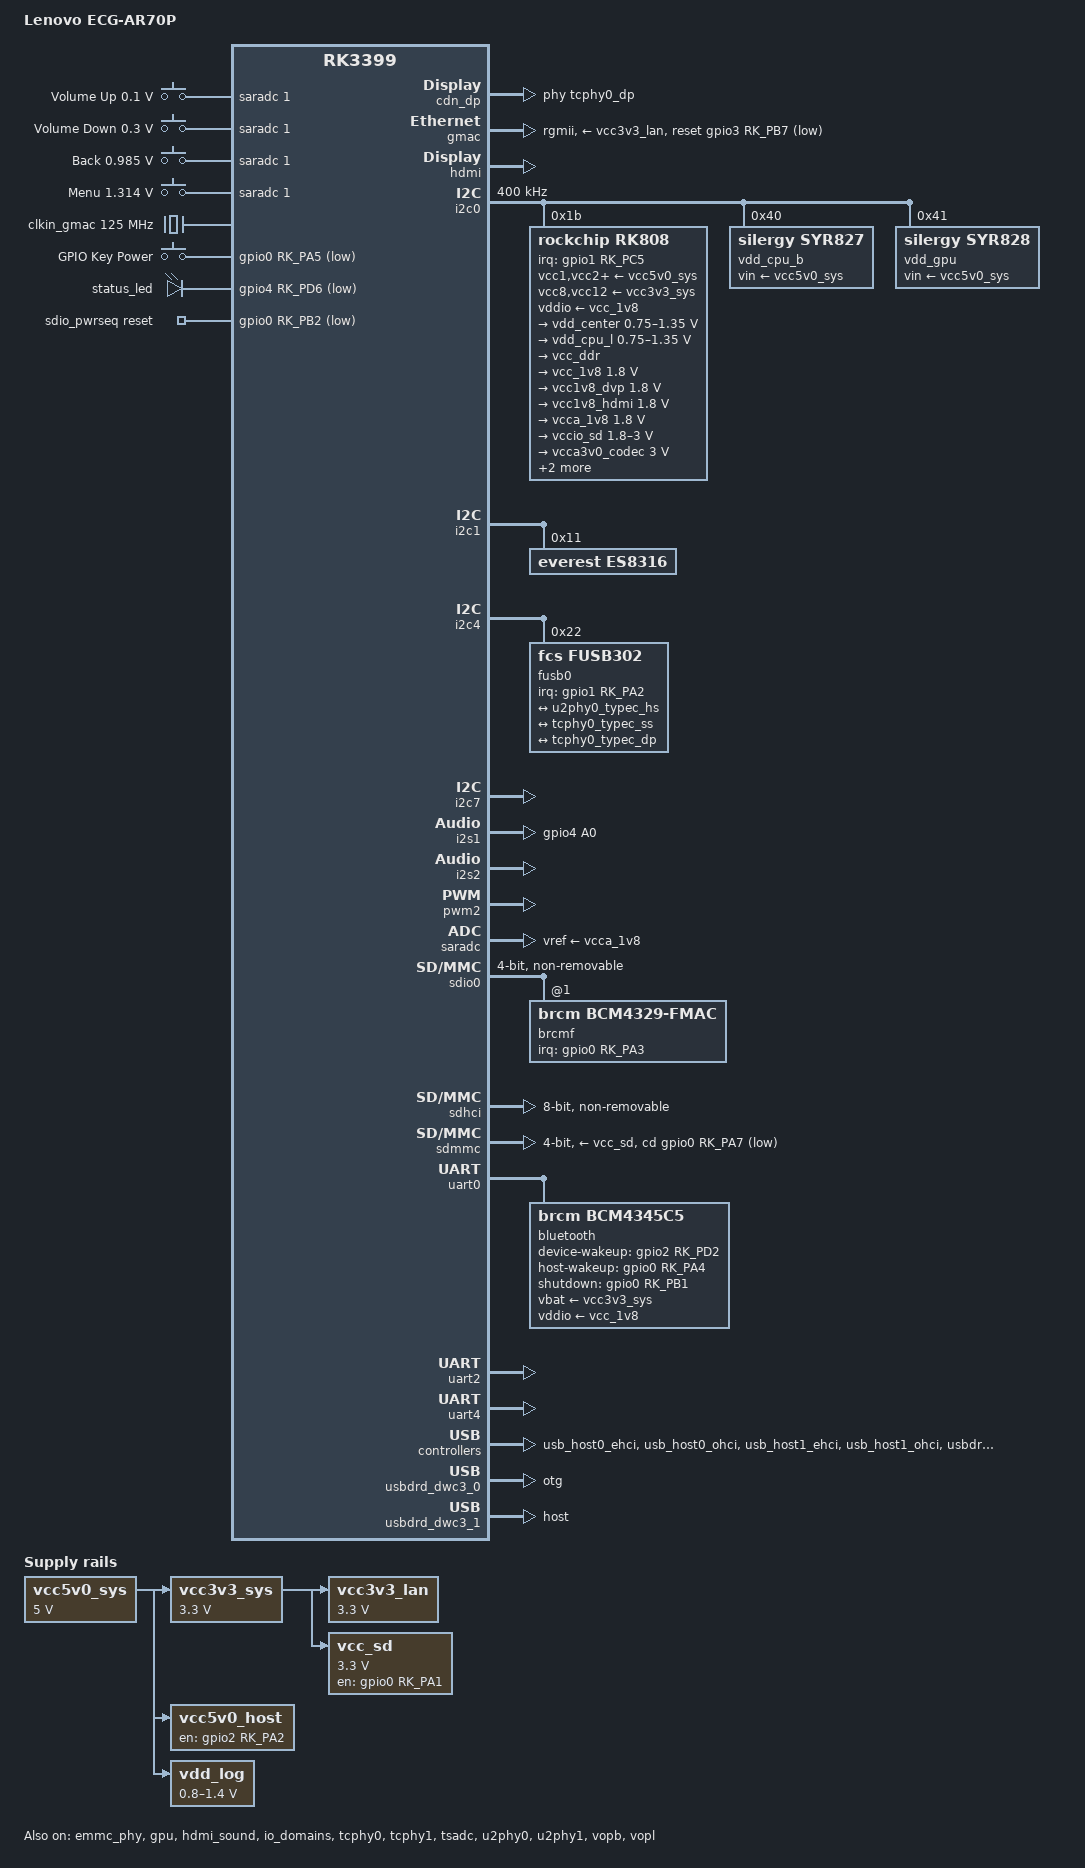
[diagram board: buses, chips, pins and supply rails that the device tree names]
// SPDX-License-Identifier: (GPL-2.0+ OR MIT)
/*
 * Device Tree for Lenovo ECG-AR70P (RK3399)
 */

/dts-v1/;
#include <dt-bindings/input/linux-event-codes.h>
#include <dt-bindings/interrupt-controller/irq.h>
#include <dt-bindings/pwm/pwm.h>
#include <dt-bindings/usb/pd.h>
#include "rk3399.dtsi"

/ {
	model = "Lenovo ECG-AR70P";
	compatible = "lenovo,ecg-ar70p", "rockchip,rk3399";

	aliases {
		ethernet0 = &gmac;
		mmc0 = &sdio0;
		mmc1 = &sdmmc;
		mmc2 = &sdhci;
	};

	chosen {
		stdout-path = "serial2:1500000n8";
	};

	adc-keys {
		compatible = "adc-keys";
		io-channels = <&saradc 1>;
		io-channel-names = "buttons";
		keyup-threshold-microvolt = <1800000>;
		poll-interval = <100>;

		button-up {
			label = "Volume Up";
			linux,code = <KEY_VOLUMEUP>;
			press-threshold-microvolt = <100000>;
		};

		button-down {
			label = "Volume Down";
			linux,code = <KEY_VOLUMEDOWN>;
			press-threshold-microvolt = <300000>;
		};

		button-back {
			label = "Back";
			linux,code = <KEY_BACK>;
			press-threshold-microvolt = <985000>;
		};

		button-menu {
			label = "Menu";
			linux,code = <KEY_MENU>;
			press-threshold-microvolt = <1314000>;
		};
	};

	clkin_gmac: external-gmac-clock {
		compatible = "fixed-clock";
		clock-frequency = <125000000>;
		clock-output-names = "clkin_gmac";
		#clock-cells = <0>;
	};

	es8316-sound {
		compatible = "simple-audio-card";
		simple-audio-card,name = "rockchip,es8316-codec";
		simple-audio-card,format = "i2s";
		simple-audio-card,mclk-fs = <256>;
		simple-audio-card,widgets =
			"Microphone", "Mic Jack",
			"Headphone", "Headphones";
		simple-audio-card,routing =
			"MIC1", "Mic Jack",
			"Headphones", "HPOL",
			"Headphones", "HPOR";

		simple-audio-card,cpu {
			sound-dai = <&i2s1>;
		};

		simple-audio-card,codec {
			sound-dai = <&es8316>;
		};
	};

	gpio-keys {
		compatible = "gpio-keys";
		autorepeat;
		pinctrl-names = "default";
		pinctrl-0 = <&pwr_key>;

		button-power {
			debounce-interval = <100>;
			gpios = <&gpio0 RK_PA5 GPIO_ACTIVE_LOW>;
			label = "GPIO Key Power";
			linux,code = <KEY_POWER>;
			wakeup-source;
		};
	};

	gpio-leds {
		compatible = "gpio-leds";
		pinctrl-names = "default";
		pinctrl-0 = <&status_led_pin>;

		led-status {
			gpios = <&gpio4 RK_PD6 GPIO_ACTIVE_LOW>;
			label = "status_led";
			linux,default-trigger = "heartbeat";
		};
	};

	sdio_pwrseq: sdio-pwrseq {
		compatible = "mmc-pwrseq-simple";
		clocks = <&rk808 1>;
		clock-names = "ext_clock";
		pinctrl-names = "default";
		pinctrl-0 = <&wifi_enable_h>;
		reset-gpios = <&gpio0 RK_PB2 GPIO_ACTIVE_LOW>;
	};

	typec_extcon_bridge: typec-extcon {
		compatible = "linux,typec-extcon-bridge";
		usb-role-switch;
		orientation-switch;
		mode-switch;
		svid = /bits/ 16 <0xff01>;
	};

	vcc3v3_lan: regulator-vcc3v3-lan {
		compatible = "regulator-fixed";
		regulator-name = "vcc3v3_lan";
		regulator-always-on;
		regulator-boot-on;
		regulator-min-microvolt = <3300000>;
		regulator-max-microvolt = <3300000>;
		vin-supply = <&vcc3v3_sys>;
	};

	vcc3v3_sys: regulator-vcc3v3-sys {
		compatible = "regulator-fixed";
		regulator-name = "vcc3v3_sys";
		regulator-always-on;
		regulator-boot-on;
		regulator-min-microvolt = <3300000>;
		regulator-max-microvolt = <3300000>;
		vin-supply = <&vcc5v0_sys>;
	};

	vcc5v0_host: regulator-vcc5v0-host {
		compatible = "regulator-fixed";
		enable-active-high;
		gpio = <&gpio2 RK_PA2 GPIO_ACTIVE_HIGH>;
		pinctrl-names = "default";
		pinctrl-0 = <&vcc5v0_host_en>;
		regulator-name = "vcc5v0_host";
		regulator-always-on;
		regulator-boot-on;
		vin-supply = <&vcc5v0_sys>;
	};

	vcc5v0_sys: regulator-vcc5v0-sys {
		compatible = "regulator-fixed";
		regulator-name = "vcc5v0_sys";
		regulator-always-on;
		regulator-boot-on;
		regulator-min-microvolt = <5000000>;
		regulator-max-microvolt = <5000000>;
	};

	vcc_sd: regulator-vcc-sd {
		compatible = "regulator-fixed";
		enable-active-high;
		gpio = <&gpio0 RK_PA1 GPIO_ACTIVE_HIGH>;
		pinctrl-names = "default";
		pinctrl-0 = <&vcc_sd_h>;
		regulator-name = "vcc_sd";
		regulator-min-microvolt = <3300000>;
		regulator-max-microvolt = <3300000>;
		vin-supply = <&vcc3v3_sys>;
	};

	vdd_log: regulator-vdd-log {
		compatible = "pwm-regulator";
		pwms = <&pwm2 0 25000 1>;
		pwm-supply = <&vcc5v0_sys>;
		regulator-name = "vdd_log";
		regulator-always-on;
		regulator-boot-on;
		regulator-min-microvolt = <800000>;
		regulator-max-microvolt = <1400000>;
	};
};

&cdn_dp {
	status = "okay";
	extcon = <&typec_extcon_bridge>;
	phys = <&tcphy0_dp>;
};

&cpu_l0 {
	cpu-supply = <&vdd_cpu_l>;
};

&cpu_l1 {
	cpu-supply = <&vdd_cpu_l>;
};

&cpu_l2 {
	cpu-supply = <&vdd_cpu_l>;
};

&cpu_l3 {
	cpu-supply = <&vdd_cpu_l>;
};

&cpu_b0 {
	cpu-supply = <&vdd_cpu_b>;
};

&cpu_b1 {
	cpu-supply = <&vdd_cpu_b>;
};

&emmc_phy {
	status = "okay";
};

&gmac {
	assigned-clocks = <&cru SCLK_RMII_SRC>;
	assigned-clock-parents = <&clkin_gmac>;
	clock_in_out = "input";
	phy-supply = <&vcc3v3_lan>;
	phy-mode = "rgmii";
	pinctrl-names = "default";
	pinctrl-0 = <&rgmii_pins>;
	snps,reset-gpio = <&gpio3 RK_PB7 GPIO_ACTIVE_LOW>;
	snps,reset-active-low;
	snps,reset-delays-us = <0 10000 50000>;
	tx_delay = <0x23>;
	rx_delay = <0x9>;
	status = "okay";
};

&gpu {
	mali-supply = <&vdd_gpu>;
	status = "okay";
};

&hdmi {
	ddc-i2c-bus = <&i2c7>;
	pinctrl-names = "default";
	pinctrl-0 = <&hdmi_cec>;
	status = "okay";
};

&hdmi_sound {
	status = "okay";
};

&i2c0 {
	clock-frequency = <400000>;
	i2c-scl-rising-time-ns = <168>;
	i2c-scl-falling-time-ns = <4>;
	status = "okay";

	rk808: pmic@1b {
		compatible = "rockchip,rk808";
		reg = <0x1b>;
		interrupt-parent = <&gpio1>;
		interrupts = <RK_PC5 IRQ_TYPE_LEVEL_LOW>;
		#clock-cells = <1>;
		clock-output-names = "xin32k", "rk808-clkout2";
		pinctrl-names = "default";
		pinctrl-0 = <&pmic_int_l>;
		system-power-controller;
		wakeup-source;

		vcc1-supply = <&vcc5v0_sys>;
		vcc2-supply = <&vcc5v0_sys>;
		vcc3-supply = <&vcc5v0_sys>;
		vcc4-supply = <&vcc5v0_sys>;
		vcc6-supply = <&vcc5v0_sys>;
		vcc7-supply = <&vcc5v0_sys>;
		vcc8-supply = <&vcc3v3_sys>;
		vcc9-supply = <&vcc5v0_sys>;
		vcc10-supply = <&vcc5v0_sys>;
		vcc11-supply = <&vcc5v0_sys>;
		vcc12-supply = <&vcc3v3_sys>;
		vddio-supply = <&vcc_1v8>;

		regulators {
			vdd_center: DCDC_REG1 {
				regulator-name = "vdd_center";
				regulator-always-on;
				regulator-boot-on;
				regulator-min-microvolt = <750000>;
				regulator-max-microvolt = <1350000>;
				regulator-ramp-delay = <6001>;
				regulator-state-mem {
					regulator-off-in-suspend;
				};
			};

			vdd_cpu_l: DCDC_REG2 {
				regulator-name = "vdd_cpu_l";
				regulator-always-on;
				regulator-boot-on;
				regulator-min-microvolt = <750000>;
				regulator-max-microvolt = <1350000>;
				regulator-ramp-delay = <6001>;
				regulator-state-mem {
					regulator-off-in-suspend;
				};
			};

			vcc_ddr: DCDC_REG3 {
				regulator-name = "vcc_ddr";
				regulator-always-on;
				regulator-boot-on;
				regulator-state-mem {
					regulator-on-in-suspend;
				};
			};

			vcc_1v8: DCDC_REG4 {
				regulator-name = "vcc_1v8";
				regulator-always-on;
				regulator-boot-on;
				regulator-min-microvolt = <1800000>;
				regulator-max-microvolt = <1800000>;
				regulator-state-mem {
					regulator-on-in-suspend;
					regulator-suspend-microvolt = <1800000>;
				};
			};

			vcc1v8_dvp: LDO_REG1 {
				regulator-name = "vcc1v8_dvp";
				regulator-always-on;
				regulator-boot-on;
				regulator-min-microvolt = <1800000>;
				regulator-max-microvolt = <1800000>;
				regulator-state-mem {
					regulator-off-in-suspend;
				};
			};

			vcc1v8_hdmi: LDO_REG2 {
				regulator-name = "vcc1v8_hdmi";
				regulator-always-on;
				regulator-boot-on;
				regulator-min-microvolt = <1800000>;
				regulator-max-microvolt = <1800000>;
				regulator-state-mem {
					regulator-off-in-suspend;
				};
			};

			vcca_1v8: LDO_REG3 {
				regulator-name = "vcca_1v8";
				regulator-always-on;
				regulator-boot-on;
				regulator-min-microvolt = <1800000>;
				regulator-max-microvolt = <1800000>;
				regulator-state-mem {
					regulator-on-in-suspend;
					regulator-suspend-microvolt = <1800000>;
				};
			};

			vccio_sd: LDO_REG4 {
				regulator-name = "vccio_sd";
				regulator-always-on;
				regulator-boot-on;
				regulator-min-microvolt = <1800000>;
				regulator-max-microvolt = <3000000>;
				regulator-state-mem {
					regulator-on-in-suspend;
					regulator-suspend-microvolt = <3000000>;
				};
			};

			vcca3v0_codec: LDO_REG5 {
				regulator-name = "vcca3v0_codec";
				regulator-always-on;
				regulator-boot-on;
				regulator-min-microvolt = <3000000>;
				regulator-max-microvolt = <3000000>;
				regulator-state-mem {
					regulator-off-in-suspend;
				};
			};

			vcc_1v5: LDO_REG6 {
				regulator-name = "vcc_1v5";
				regulator-always-on;
				regulator-boot-on;
				regulator-min-microvolt = <1500000>;
				regulator-max-microvolt = <1500000>;
				regulator-state-mem {
					regulator-on-in-suspend;
					regulator-suspend-microvolt = <1500000>;
				};
			};

			vcc0v9_hdmi: LDO_REG7 {
				regulator-name = "vcc0v9_hdmi";
				regulator-always-on;
				regulator-boot-on;
				regulator-min-microvolt = <900000>;
				regulator-max-microvolt = <900000>;
				regulator-state-mem {
					regulator-off-in-suspend;
				};
			};

			vcc_3v0: LDO_REG8 {
				regulator-name = "vcc_3v0";
				regulator-always-on;
				regulator-boot-on;
				regulator-min-microvolt = <3000000>;
				regulator-max-microvolt = <3000000>;
				regulator-state-mem {
					regulator-on-in-suspend;
					regulator-suspend-microvolt = <3000000>;
				};
			};

			vcc3v3_s3: SWITCH_REG1 {
				regulator-name = "vcc3v3_s3";
				regulator-always-on;
				regulator-boot-on;
				regulator-state-mem {
					regulator-off-in-suspend;
				};
			};

			vcc3v3_s0: SWITCH_REG2 {
				regulator-name = "vcc3v3_s0";
				regulator-always-on;
				regulator-boot-on;
				regulator-state-mem {
					regulator-off-in-suspend;
				};
			};
		};
	};

	vdd_cpu_b: regulator@40 {
		compatible = "silergy,syr827";
		reg = <0x40>;
		fcs,suspend-voltage-selector = <1>;
		pinctrl-names = "default";
		pinctrl-0 = <&vsel1_pin>;
		regulator-name = "vdd_cpu_b";
		regulator-min-microvolt = <712500>;
		regulator-max-microvolt = <1500000>;
		regulator-ramp-delay = <1000>;
		regulator-always-on;
		regulator-boot-on;
		vin-supply = <&vcc5v0_sys>;

		regulator-state-mem {
			regulator-off-in-suspend;
		};
	};

	vdd_gpu: regulator@41 {
		compatible = "silergy,syr828";
		reg = <0x41>;
		fcs,suspend-voltage-selector = <1>;
		pinctrl-names = "default";
		pinctrl-0 = <&vsel2_pin>;
		regulator-name = "vdd_gpu";
		regulator-min-microvolt = <712500>;
		regulator-max-microvolt = <1500000>;
		regulator-ramp-delay = <1000>;
		regulator-always-on;
		regulator-boot-on;
		vin-supply = <&vcc5v0_sys>;

		regulator-state-mem {
			regulator-off-in-suspend;
		};
	};
};

&i2c1 {
	i2c-scl-rising-time-ns = <300>;
	i2c-scl-falling-time-ns = <15>;
	status = "okay";

	es8316: audio-codec@11 {
		compatible = "everest,es8316";
		reg = <0x11>;
		clocks = <&cru SCLK_I2S_8CH_OUT>;
		clock-names = "mclk";
		#sound-dai-cells = <0>;
	};
};

&i2c4 {
	i2c-scl-rising-time-ns = <600>;
	i2c-scl-falling-time-ns = <20>;
	status = "okay";

	fusb0: typec-portc@22 {
		compatible = "fcs,fusb302";
		reg = <0x22>;
		interrupt-parent = <&gpio1>;
		interrupts = <RK_PA2 IRQ_TYPE_LEVEL_LOW>;
		pinctrl-names = "default";
		pinctrl-0 = <&fusb0_int>;
		usb-role-switch = <&typec_extcon_bridge>;
		extcon = <&typec_extcon_bridge>;
		status = "okay";

		connector {
			compatible = "usb-c-connector";
			label = "USB-C";
			power-role = "dual";
			data-role = "dual";
			try-power-role = "sink";
			source-pdos = <PDO_FIXED(5000, 1200, PDO_FIXED_USB_COMM)>;
			sink-pdos = <PDO_FIXED(5000, 500, PDO_FIXED_USB_COMM)>;
			op-sink-microwatt = <2500000>;
			mode-switch = <&typec_extcon_bridge>;
			orientation-switch = <&typec_extcon_bridge>;

			altmodes {
				dp {
					svid = /bits/ 16 <0xff01>;
					vdo = <0x1c46>;
				};
			};

			ports {
				#address-cells = <1>;
				#size-cells = <0>;

				port@0 {
					reg = <0>;

					usb_con_hs: endpoint {
						remote-endpoint = <&u2phy0_typec_hs>;
					};
				};

				port@1 {
					reg = <1>;

					usb_con_ss: endpoint {
						remote-endpoint = <&tcphy0_typec_ss>;
					};
				};

				port@2 {
					reg = <2>;

					usb_con_dp: endpoint {
						remote-endpoint = <&tcphy0_typec_dp>;
					};
				};
			};
		};
	};
};

&i2c7 {
	status = "okay";
};

&i2s1 {
	pinctrl-names = "default";
	pinctrl-0 = <&i2s_8ch_mclk_pin>, <&i2s1_2ch_bus>;
	rockchip,playback-channels = <2>;
	rockchip,capture-channels = <2>;
	status = "okay";
};

&i2s2 {
	status = "okay";
};

&io_domains {
	status = "okay";
	bt656-supply = <&vcc1v8_dvp>;
	audio-supply = <&vcc_1v8>;
	sdmmc-supply = <&vccio_sd>;
	gpio1830-supply = <&vcc_3v0>;
};

&pmu_io_domains {
	status = "okay";
	pmu1830-supply = <&vcc_3v0>;
};

&pinctrl {
	bt {
		bt_enable_h: bt-enable-h {
			rockchip,pins = <0 RK_PB1 RK_FUNC_GPIO &pcfg_pull_none>;
		};

		bt_host_wake_l: bt-host-wake-l {
			rockchip,pins = <0 RK_PA4 RK_FUNC_GPIO &pcfg_pull_none>;
		};

		bt_wake_l: bt-wake-l {
			rockchip,pins = <2 RK_PD2 RK_FUNC_GPIO &pcfg_pull_none>;
		};
	};

	buttons {
		pwr_key: pwr-key {
			rockchip,pins = <0 RK_PA5 RK_FUNC_GPIO &pcfg_pull_up>;
		};
	};

	fusb302x {
		fusb0_int: fusb0-int {
			rockchip,pins = <1 RK_PA2 RK_FUNC_GPIO &pcfg_pull_up>;
		};
	};

	i2s1 {
		i2s_8ch_mclk_pin: i2s-8ch-mclk-pin {
			rockchip,pins = <4 RK_PA0 1 &pcfg_pull_none>;
		};
	};

	leds {
		status_led_pin: status-led-pin {
			rockchip,pins = <4 RK_PD6 RK_FUNC_GPIO &pcfg_pull_none>;
		};
	};

	pmic {
		pmic_int_l: pmic-int-l {
			rockchip,pins = <1 RK_PC5 RK_FUNC_GPIO &pcfg_pull_up>;
		};

		vsel1_pin: vsel1-pin {
			rockchip,pins = <1 RK_PC1 RK_FUNC_GPIO &pcfg_pull_down>;
		};

		vsel2_pin: vsel2-pin {
			rockchip,pins = <1 RK_PB6 RK_FUNC_GPIO &pcfg_pull_down>;
		};
	};

	sdmmc {
		vcc_sd_h: vcc-sd-h {
			rockchip,pins = <0 RK_PA1 RK_FUNC_GPIO &pcfg_pull_up>;
		};
	};

	usb2 {
		vcc5v0_host_en: vcc5v0-host-en {
			rockchip,pins = <2 RK_PA2 RK_FUNC_GPIO &pcfg_pull_none>;
		};
	};

	wifi {
		wifi_enable_h: wifi-enable-h {
			rockchip,pins = <0 RK_PB2 RK_FUNC_GPIO &pcfg_pull_none>;
		};

		wifi_host_wake_l: wifi-host-wake-l {
			rockchip,pins = <0 RK_PA3 RK_FUNC_GPIO &pcfg_pull_none>;
		};
	};
};

&pwm2 {
	status = "okay";
};

&saradc {
	vref-supply = <&vcca_1v8>;
	status = "okay";
};

&sdio0 {
	#address-cells = <1>;
	#size-cells = <0>;
	bus-width = <4>;
	clock-frequency = <50000000>;
	cap-sdio-irq;
	cap-sd-highspeed;
	keep-power-in-suspend;
	mmc-pwrseq = <&sdio_pwrseq>;
	non-removable;
	pinctrl-names = "default";
	pinctrl-0 = <&sdio0_bus4 &sdio0_cmd &sdio0_clk>;
	sd-uhs-sdr104;
	status = "okay";

	brcmf: wifi@1 {
		compatible = "brcm,bcm4329-fmac";
		reg = <1>;
		interrupt-parent = <&gpio0>;
		interrupts = <RK_PA3 IRQ_TYPE_LEVEL_HIGH>;
		interrupt-names = "host-wake";
		pinctrl-names = "default";
		pinctrl-0 = <&wifi_host_wake_l>;
	};
};

&sdhci {
	bus-width = <8>;
	mmc-hs400-1_8v;
	mmc-hs400-enhanced-strobe;
	non-removable;
	status = "okay";
};

&sdmmc {
	bus-width = <4>;
	cap-mmc-highspeed;
	cap-sd-highspeed;
	cd-gpios = <&gpio0 RK_PA7 GPIO_ACTIVE_LOW>;
	disable-wp;
	max-frequency = <150000000>;
	pinctrl-names = "default";
	pinctrl-0 = <&sdmmc_clk &sdmmc_cd &sdmmc_cmd &sdmmc_bus4>;
	vmmc-supply = <&vcc_sd>;
	vqmmc-supply = <&vccio_sd>;
	status = "okay";
};

&tcphy0 {
	extcon = <&typec_extcon_bridge>;
	status = "okay";
};

&tcphy0_dp {
	port {
		tcphy0_typec_dp: endpoint {
			remote-endpoint = <&usb_con_dp>;
		};
	};
};

&tcphy0_usb3 {
	port {
		tcphy0_typec_ss: endpoint {
			remote-endpoint = <&usb_con_ss>;
		};
	};
};

&tcphy1 {
	status = "okay";
};

&tsadc {
	rockchip,hw-tshut-mode = <1>;
	rockchip,hw-tshut-polarity = <1>;
	status = "okay";
};

&u2phy0 {
	extcon = <&typec_extcon_bridge>;
	extcon,ignore-usb;
	status = "okay";

	u2phy0_otg: otg-port {
		status = "okay";

		port {
			u2phy0_typec_hs: endpoint {
				remote-endpoint = <&usb_con_hs>;
			};
		};
	};

	u2phy0_host: host-port {
		phy-supply = <&vcc5v0_host>;
		status = "okay";
	};
};

&u2phy1 {
	status = "okay";

	u2phy1_otg: otg-port {
		status = "okay";
	};

	u2phy1_host: host-port {
		phy-supply = <&vcc5v0_host>;
		status = "okay";
	};
};

&uart0 {
	pinctrl-names = "default";
	pinctrl-0 = <&uart0_xfer &uart0_cts &uart0_rts>;
	status = "okay";

	bluetooth {
		compatible = "brcm,bcm4345c5";
		clocks = <&rk808 1>;
		clock-names = "lpo";
		device-wakeup-gpios = <&gpio2 RK_PD2 GPIO_ACTIVE_HIGH>;
		host-wakeup-gpios = <&gpio0 RK_PA4 GPIO_ACTIVE_HIGH>;
		shutdown-gpios = <&gpio0 RK_PB1 GPIO_ACTIVE_HIGH>;
		max-speed = <1500000>;
		pinctrl-names = "default";
		pinctrl-0 = <&bt_host_wake_l &bt_wake_l &bt_enable_h>;
		vbat-supply = <&vcc3v3_sys>;
		vddio-supply = <&vcc_1v8>;
	};
};

&uart2 {
	status = "okay";
};

&uart4 {
	status = "okay";
};

&usb_host0_ehci {
	status = "okay";
};

&usb_host0_ohci {
	status = "okay";
};

&usb_host1_ehci {
	status = "okay";
};

&usb_host1_ohci {
	status = "okay";
};

&usbdrd3_0 {
	status = "okay";
};

&usbdrd_dwc3_0 {
	dr_mode = "otg";
	extcon = <&typec_extcon_bridge>;
	snps,usb3-phy-reset-quirk;
	status = "okay";
};

&usbdrd3_1 {
	status = "okay";
};

&usbdrd_dwc3_1 {
	dr_mode = "host";
	status = "okay";
};

&vopb {
	status = "okay";
};

&vopb_mmu {
	status = "okay";
};

&vopl {
	status = "okay";
};

&vopl_mmu {
	status = "okay";
};
